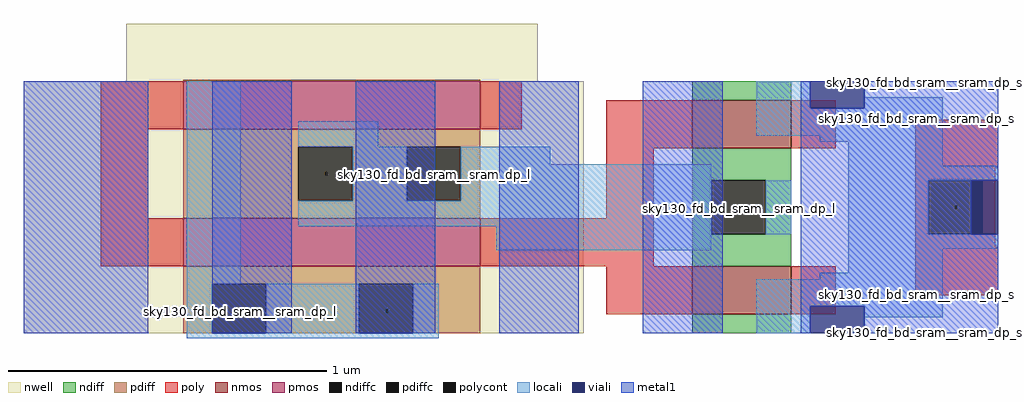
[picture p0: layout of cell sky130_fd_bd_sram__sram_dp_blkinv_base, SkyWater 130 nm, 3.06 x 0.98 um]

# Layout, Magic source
magic
tech sky130A
magscale 1 2
<< nwell >>
rect 64 158 322 194
rect 0 0 351 158
<< nmos >>
rect 419 116 481 146
rect 419 12 481 42
<< pmos >>
rect 100 128 286 158
rect 100 42 286 72
<< ndiff >>
rect 419 146 481 158
rect 419 96 481 116
rect 419 62 431 96
rect 465 62 481 96
rect 419 42 481 62
rect 419 0 481 12
<< pdiff >>
rect 100 158 286 159
rect 100 117 286 128
rect 100 83 172 117
rect 206 83 240 117
rect 274 83 286 117
rect 100 72 286 83
rect 100 31 286 42
rect 100 0 118 31
rect 152 0 210 31
rect 244 0 286 31
<< ndiffc >>
rect 431 62 465 96
<< pdiffc >>
rect 172 83 206 117
rect 240 83 274 117
rect 118 0 152 31
rect 210 0 244 31
<< poly >>
rect 48 128 100 158
rect 286 128 312 158
rect 48 72 78 128
rect 365 116 419 146
rect 481 116 509 146
rect 365 72 395 116
rect 48 42 100 72
rect 286 42 395 72
rect 559 104 611 134
rect 559 96 609 104
rect 559 62 567 96
rect 601 62 609 96
rect 559 54 609 62
rect 365 12 419 42
rect 481 12 509 42
rect 559 24 611 54
<< polycont >>
rect 567 62 601 96
<< locali >>
rect 102 31 136 158
rect 459 141 493 158
rect 527 141 576 148
rect 172 117 222 133
rect 459 124 576 141
rect 499 120 576 124
rect 206 83 240 117
rect 274 106 330 117
rect 274 83 431 106
rect 517 105 576 120
rect 517 96 611 105
rect 172 67 431 83
rect 296 52 431 67
rect 465 62 481 96
rect 517 62 567 96
rect 517 53 611 62
rect 517 38 576 53
rect 499 34 576 38
rect 102 0 118 31
rect 152 0 210 31
rect 244 0 260 31
rect 459 17 576 34
rect 459 0 493 17
rect 527 10 576 17
rect 102 -3 260 0
<< viali >>
rect 493 141 527 158
rect 594 62 601 96
rect 601 62 611 96
rect 493 0 527 17
<< metal1 >>
rect 0 0 78 158
rect 118 0 168 158
rect 208 0 258 158
rect 298 0 348 158
rect 388 0 438 158
rect 487 141 493 158
rect 527 141 611 158
rect 487 96 611 141
rect 487 62 594 96
rect 487 17 611 62
rect 487 0 493 17
rect 527 0 611 17
use sky130_fd_bd_sram__sram_dp_blkinv_p1m_siz  sky130_fd_bd_sram__sram_dp_blkinv_p1m_siz_0
transform 1 0 90 0 1 18
box 469 6 470 117
use sky130_fd_bd_sram__sram_dp_licon_1  sky130_fd_bd_sram__sram_dp_licon_1_0
transform 1 0 257 0 1 100
box 0 -1 1 1
use sky130_fd_bd_sram__sram_dp_licon_1  sky130_fd_bd_sram__sram_dp_licon_1_1
transform 1 0 189 0 1 100
box 0 -1 1 1
use sky130_fd_bd_sram__sram_dp_licon_1  sky130_fd_bd_sram__sram_dp_licon_1_2
transform 1 0 135 0 1 14
box 0 -1 1 1
use sky130_fd_bd_sram__sram_dp_licon_1  sky130_fd_bd_sram__sram_dp_licon_1_3
transform 1 0 227 0 1 14
box 0 -1 1 1
use sky130_fd_bd_sram__sram_dp_licon_1  sky130_fd_bd_sram__sram_dp_licon_1_4
transform 1 0 448 0 1 79
box 0 -1 1 1
use sky130_fd_bd_sram__sram_dp_licon_1  sky130_fd_bd_sram__sram_dp_licon_1_5
transform 1 0 584 0 1 79
box 0 -1 1 1
use sky130_fd_bd_sram__sram_dp_swldrv_li_drop  sky130_fd_bd_sram__sram_dp_swldrv_li_drop_0
transform 1 0 611 0 1 0
box 0 0 1 1
use sky130_fd_bd_sram__sram_dp_swldrv_li_drop  sky130_fd_bd_sram__sram_dp_swldrv_li_drop_1
transform 1 0 611 0 -1 158
box 0 0 1 1
<< properties >>
string GDS_FILE sky130_fd_bd_sram__sram_dp_blkinv_base.gds
string GDS_END 4066
string GDS_START 1558
<< end >>

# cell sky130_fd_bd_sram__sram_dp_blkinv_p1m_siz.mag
magic
tech sky130A
magscale 1 2
use sky130_fd_bd_sram__sram_dp_swldrv_opt1_poly_siz_optb  sky130_fd_bd_sram__sram_dp_swldrv_opt1_poly_siz_optb_0
transform 1 0 469 0 1 6
box 0 0 1 1
use sky130_fd_bd_sram__sram_dp_swldrv_opt1_poly_siz_opta  sky130_fd_bd_sram__sram_dp_swldrv_opt1_poly_siz_opta_0
transform 1 0 469 0 1 116
box 0 0 1 1
<< properties >>
string GDS_FILE sky130_fd_bd_sram__sram_dp_blkinv_p1m_siz.gds
string GDS_END 1018
string GDS_START 606
<< end >>

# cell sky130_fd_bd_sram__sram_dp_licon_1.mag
magic
tech sky130A
magscale 1 2
use sky130_fd_bd_sram__sram_dp_licon_05  sky130_fd_bd_sram__sram_dp_licon_05_0
transform 1 0 0 0 -1 0
box 0 0 1 1
use sky130_fd_bd_sram__sram_dp_licon_05  sky130_fd_bd_sram__sram_dp_licon_05_1
transform 1 0 0 0 1 0
box 0 0 1 1
<< properties >>
string GDS_FILE sky130_fd_bd_sram__sram_dp_licon_1.gds
string GDS_END 424
string GDS_START 294
<< end >>
